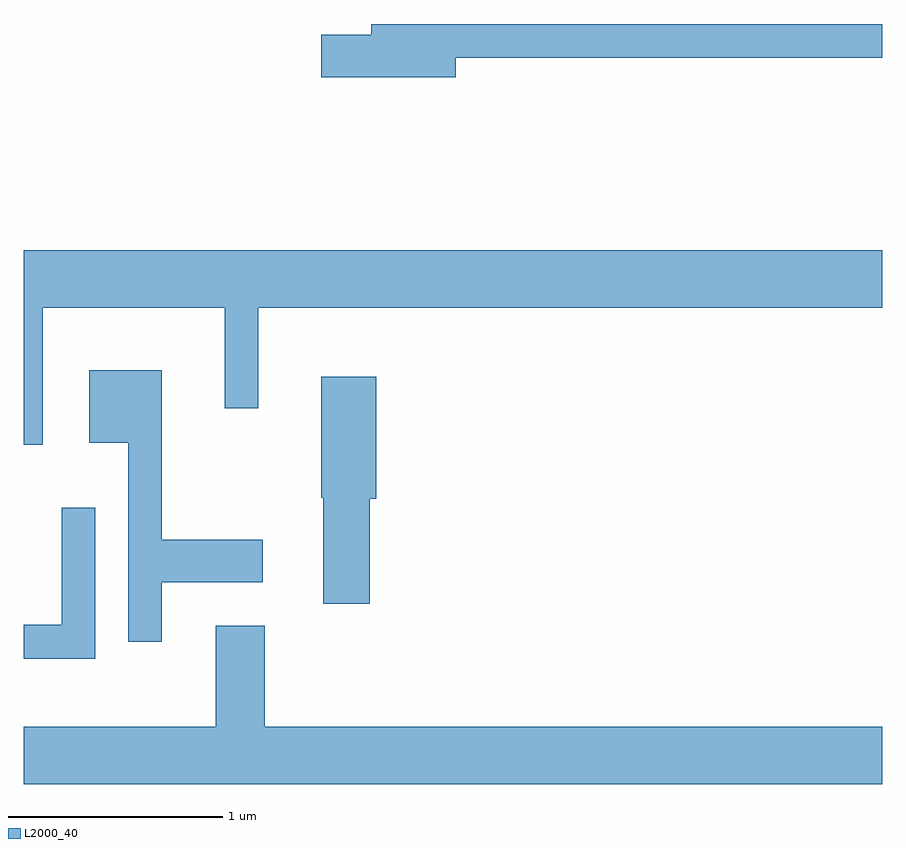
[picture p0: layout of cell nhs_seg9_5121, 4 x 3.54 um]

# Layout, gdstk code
import gdstk
lib = gdstk.Library(unit=1e-6, precision=1e-09)
def P(c, l, *ps):  # polygons
    for p in ps: c.add(gdstk.Polygon(p, *l))
L2000_40 = (2000, 40)

nhs_seg9_5121 = lib.new_cell('nhs_seg9_5121')
P(nhs_seg9_5121, L2000_40, [(337.624,2041.821),(339.611,2041.821),(339.611,2041.979),(337.231,2041.979),(337.231,2041.929),(336.996,2041.929),(336.996,2041.731),(337.624,2041.731)],
  [(335.699,2040.656),(336.546,2040.656),(336.546,2040.188),(336.704,2040.188),(336.704,2040.656),(339.611,2040.656),(339.611,2040.924),(335.611,2040.924),(335.611,2040.018),(335.699,2040.018)],
  [(336.254,2039.376),(336.724,2039.376),(336.724,2039.574),(336.254,2039.574),(336.254,2040.364),(335.916,2040.364),(335.916,2040.026),(336.096,2040.026),(336.096,2039.098),(336.254,2039.098)],
  [(337.224,2039.766),(337.254,2039.766),(337.254,2040.334),(336.996,2040.334),(336.996,2039.77),(337.006,2039.77),(337.006,2039.276),(337.224,2039.276)],
  [(335.944,2039.723),(335.786,2039.723),(335.786,2039.179),(335.611,2039.179),(335.611,2039.021),(335.944,2039.021)],
  [(339.611,2038.704),(336.734,2038.704),(336.734,2039.174),(336.506,2039.174),(336.506,2038.704),(335.611,2038.704),(335.611,2038.436),(339.611,2038.436)])

lib.write_gds('nhs_seg9_5121.gds')
